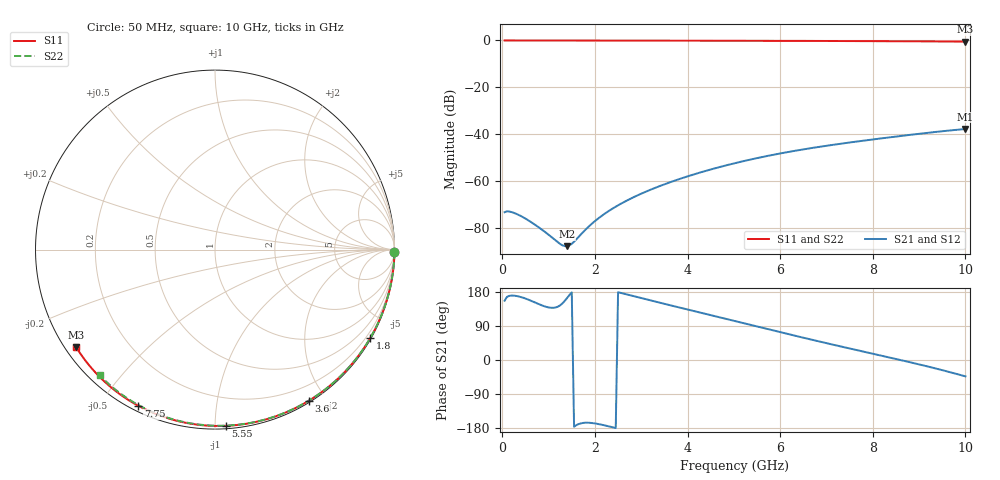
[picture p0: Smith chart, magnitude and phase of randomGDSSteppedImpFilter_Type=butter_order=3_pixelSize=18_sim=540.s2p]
! freq	dB(S11)	phase(S11)	dB(S12)	phase(S12)
!  dB(S21)	phase(S21)	dB(S22)	phase(S22)
!S-par simulation data
#  GHz  S  DB  R 50
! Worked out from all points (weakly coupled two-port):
!   200 points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, 50 MHz to 10 GHz, reference 50 ohm
!   highest |S21| = -37.77 dB at 10 GHz (marker M1); lowest = -87.7 dB at 1.4 GHz (marker M2)
!   lowest |S11| = -0.5 dB at 10 GHz (marker M3), VSWR 35.56, Z = 1.55 - j15.7 ohm
!   |S11| at or under -10 dB: nowhere
!   |S22| runs from -0.4 to 0.0 dB; largest |S21 - S12| = 0
!   S11 on the Smith chart (normalised r, x): 50 MHz: open; 1.8 GHz: 0.03, -3.76; 3.6 GHz: 0.02, -1.80; 5.55 GHz: 0.02, -1.06; 7.75 GHz: 0.02, -0.62; 10 GHz: 0.03, -0.31
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0.05  -0.00 -0.8  -73.25 156.5  -73.25 156.5  -0.00 -0.8
0.15  -0.00 -2.5  -72.96 169.2  -72.96 169.2  -0.00 -2.3
0.3  -0.00 -5.0  -73.91 169.0  -73.91 169.0  -0.00 -4.6
0.5  -0.01 -8.4  -75.96 162.3  -75.96 162.3  -0.01 -7.6
0.8  -0.02 -13.4  -79.87 146.9  -79.87 146.9  -0.01 -12.2
1.4  -0.03 -23.3  -87.73 163.8  -87.73 163.8  -0.03 -21.2
1.75  -0.04 -29.0  -81.62 -166.0  -81.62 -166.0  -0.03 -26.4
1.8  -0.04 -29.8  -80.62 -165.5  -80.62 -165.5  -0.03 -27.1
1.85  -0.04 -30.6  -79.66 -165.5  -79.66 -165.5  -0.04 -27.9
2.2  -0.05 -36.2  -74.04 -172.2  -74.04 -172.2  -0.04 -33.0
2.5  -0.05 -41.0  -70.30 178.9  -70.30 178.9  -0.05 -37.4
2.9  -0.06 -47.3  -66.24 166.5  -66.24 166.5  -0.06 -43.2
3.4  -0.07 -55.0  -62.09 151.2  -62.09 151.2  -0.07 -50.3
3.6  -0.08 -58.1  -60.63 145.2  -60.63 145.2  -0.07 -53.1
4.3  -0.10 -68.6  -56.15 124.4  -56.15 124.4  -0.09 -62.7
5.05  -0.12 -79.5  -52.20 102.0  -52.20 102.0  -0.11 -72.7
5.55  -0.14 -86.5  -49.96 87.0  -49.96 87.0  -0.13 -79.2
6.7  -0.20 -102.2  -45.81 53.0  -45.81 53.0  -0.18 -93.7
7.75  -0.27 -116.1  -42.86 23.5  -42.86 23.5  -0.24 -106.4
8.35  -0.32 -123.8  -41.35 6.9  -41.35 6.9  -0.29 -113.5
9.2  -0.40 -134.7  -39.35 -17.5  -39.35 -17.5  -0.36 -123.3
10  -0.49 -145.0  -37.77 -43.2  -37.77 -43.2  -0.45 -132.5
